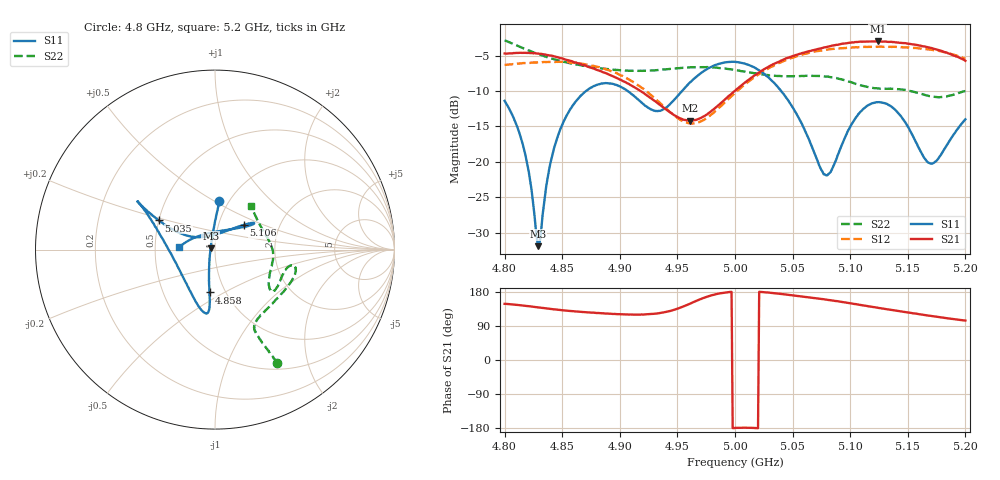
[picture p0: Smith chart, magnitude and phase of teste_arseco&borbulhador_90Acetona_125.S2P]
! Network Analyzer HP8722D
! Hewlett-Packard
! Data name: Linha & Wilkinson
! Saver's name: Rodrigo Anjos
! Comments: Teste da utilização de aquisição
! continua pelo VNA HP8722D
! Time and date: 17/4/2025 12:05
!  Frequency  S11  S21  S12  S22
# HZ  S  MA R 50
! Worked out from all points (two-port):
!   401 points, 4.8 GHz to 5.2 GHz, reference 50 ohm
!   highest |S21| = -2.99 dB at 5.124 GHz (marker M1); lowest = -14.2 dB at 4.961 GHz (marker M2)
!   |S21| within 3 dB of the highest: start of sweep to 4.862 GHz; 5.036 GHz to end of sweep
!   lowest |S11| = -31.9 dB at 4.829 GHz (marker M3), VSWR 1.05, Z = 47.6 + j0.69 ohm
!   |S11| at or under -10 dB: start of sweep to 4.871 GHz; 4.907 GHz to 4.954 GHz (47.25 MHz wide, 0.958 % of centre); 5.04 GHz to end of sweep
!   |S22| runs from -10.9 to -2.9 dB; largest |S21 - S12| = 1.3
!   S11 on the Smith chart (normalised r, x): 4.8 GHz: 0.91, +0.52; 4.858 GHz: 0.84, -0.43; 5.035 GHz: 0.50, +0.19; 5.106 GHz: 1.32, +0.38; 5.2 GHz: 0.67, +0.02
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4.8e9  0.2691 84.8  0.5815 148.2  0.4832 -112.7  0.7189 -61.1
4.817e9  0.1213 92.9  0.5879 143.3  0.4974 -112.4  0.6285 -62.3
4.822e9  0.07525 101.3  0.5858 141.6  0.4988 -112.3  0.6074 -62.6
4.829e9  0.02534 163.4  0.5821 139.0  0.5042 -111.8  0.577 -63.1
4.831e9  0.02893 -156.3  0.5783 138.1  0.506 -111.5  0.5687 -63.3
4.837e9  0.07407 -114.8  0.5665 135.7  0.5067 -111.4  0.548 -63.5
4.842e9  0.1169 -106.6  0.5583 134.0  0.5072 -111.2  0.533 -63.7
4.858e9  0.2409 -97.3  0.5141 129.2  0.502 -111.1  0.4935 -63.7
4.867e9  0.2974 -95.7  0.4852 126.8  0.4928 -111.5  0.4788 -62.8
4.898e9  0.3466 -102.4  0.3878 121.2  0.4187 -114.8  0.4451 -53.9
4.934e9  0.2288 -156.5  0.2549 123.4  0.265 -114.8  0.445 -33.5
4.961e9  0.3637 158.2  0.1946 148.8  0.1868 -88.5  0.4645 -19.9
5e9  0.5081 148.2  0.3169 -179.4  0.3067 -49.6  0.4442 -11.5
5.035e9  0.3528 152.6  0.496 176.1  0.4833 -46.3  0.4048 -18.1
5.067e9  0.1264 146.5  0.6122 164.3  0.5959 -50.0  0.4037 -31.8
5.075e9  0.08746 124.7  0.6336 161.0  0.6099 -51.4  0.4026 -34.5
5.081e9  0.0816 95.7  0.6521 158.4  0.6211 -52.7  0.3993 -35.9
5.106e9  0.2103 40.8  0.7009 146.7  0.643 -58.7  0.3524 -31.9
5.124e9  0.2634 34.1  0.7091 137.7  0.6503 -64.2  0.329 -18.6
5.134e9  0.2504 33.8  0.7024 133.0  0.6485 -67.5  0.328 -10.8
5.17e9  0.09706 100.0  0.6358 116.6  0.6178 -80.0  0.2899 20.1
5.2e9  0.1993 175.5  0.5163 104.1  0.5333 -89.8  0.3158 50.2
